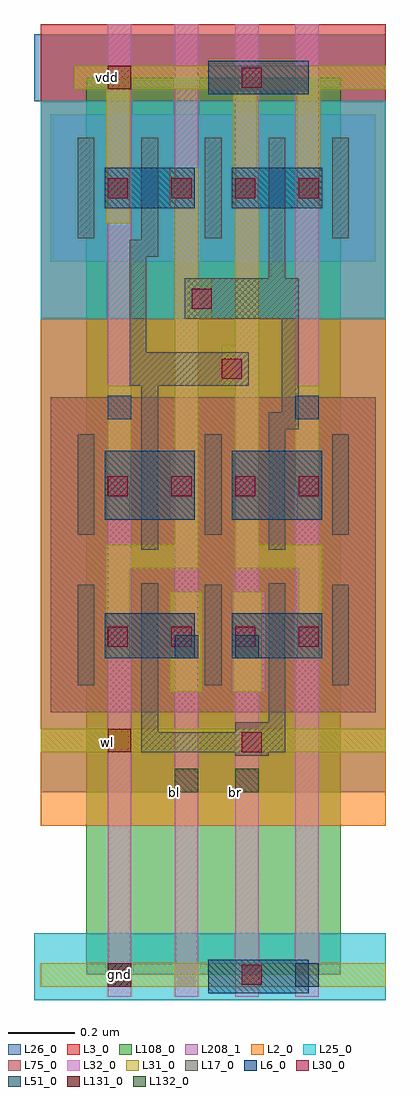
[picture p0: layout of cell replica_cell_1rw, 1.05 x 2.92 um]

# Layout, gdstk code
from math import pi, radians
import gdstk
lib = gdstk.Library(unit=1e-6, precision=1e-09)
def R(c, l, rs):  # rectangles x0, y0, x1, y1
    for r in rs: c.add(gdstk.rectangle(r[:2], r[2:], *l))
def A(c, l, x, y, w, h, nx, ny, dx, dy):  # array of equal rectangles
    R(c, l, [(x+i*dx, y+j*dy, x+i*dx+w, y+j*dy+h) for i in range(nx) for j in range(ny)])
L2_0 = (2, 0)
L3_0 = (3, 0)
L6_0 = (6, 0)
L17_0 = (17, 0)
L25_0 = (25, 0)
L26_0 = (26, 0)
L30_0 = (30, 0)
L31_0 = (31, 0)
L32_0 = (32, 0)
L51_0 = (51, 0)
L75_0 = (75, 0)
L108_0 = (108, 0)
L131_0 = (131, 0)
L132_0 = (132, 0)
L208_1 = (208, 1)

nch_mac_cdns_73062642868 = lib.new_cell('nch_mac_CDNS_730626428680')
R(nch_mac_cdns_73062642868, L6_0, [(-0.11,0,0,0.205), (0,0,0.05,0.205), (0.05,0,0.16,0.205)])
R(nch_mac_cdns_73062642868, L17_0, [(0,-0.09,0.05,0), (-0.19,-0.045,-0.14,0.255), (0.19,-0.045,0.24,0.255), (0,0,0.05,0.205), (0,0.205,0.05,0.295)])
R(nch_mac_cdns_73062642868, L26_0, [(-0.3,-0.2,-0.24,0.405), (-0.24,-0.2,0.29,0.405), (0.29,-0.2,0.35,0.405)])
R(nch_mac_cdns_73062642868, L30_0, [(-0.1,0.07,-0.04,0.13), (0.09,0.07,0.15,0.13)])
R(nch_mac_cdns_73062642868, L31_0, [(-0.105,0,-0.035,0.205), (0.085,0,0.155,0.205)])
R(nch_mac_cdns_73062642868, L75_0, [(-0.27,-0.16,0.32,0.365)])
R(nch_mac_cdns_73062642868, L208_1, [(-0.27,-0.16,0.32,0.365)])
nch_mac_cdns_73062642868.add(gdstk.Label('& SerialNumber 000000', (0,0), layer=63, texttype=63))
nch_mac_cdns_73062642868.add(gdstk.Label('& Distributor TSMC', (0,0), layer=63, texttype=63))
nch_mac_cdns_73062642868.add(gdstk.Label('& Metric 1', (0,0), layer=63, texttype=63))
nch_mac_cdns_73062642868.add(gdstk.Label('& PDK Version "tsmcN40_CRN40ULP_v1.5_2b_20200409"', (0,0), layer=63, texttype=63))
nch_mac_cdns_73062642868.add(gdstk.Label('& PDK TechNode "CRN40ULP"', (0,0), layer=63, texttype=63))
nch_mac_cdns_73062642868.add(gdstk.Label('& Product    tsmcN40_PDK', (0,0), layer=63, texttype=63))
nch_mac_cdns_73062642868.add(gdstk.Label('& Vendor     Taiwan Semiconductor manufacturing Corp.', (0,0), layer=63, texttype=63))
nch_mac_cdns_73062642868.add(gdstk.Label('[@instanceName]', (0.025,0.102), layer=127, texttype=0))
nch_mac_cdns_73062642868.add(gdstk.Label('0.205/0.05', (0,0), layer=127, texttype=0))
nch_mac_cdns_73062642868.add(gdstk.Label('nch_mac', (0,0.045), layer=127, texttype=0))
nch_mac_cdns_73062642868.add(gdstk.Label('D', (0.12,0.102), layer=127, texttype=0))
nch_mac_cdns_73062642868.add(gdstk.Label('S', (-0.07,0.102), layer=127, texttype=0))

c_nch_mac_cdns_73062642868 = lib.new_cell('nch_mac_CDNS_730626428681')
R(c_nch_mac_cdns_73062642868, L6_0, [(-0.11,0,0,0.135), (0,0,0.05,0.135), (0.05,0,0.16,0.135)])
R(c_nch_mac_cdns_73062642868, L17_0, [(0,-0.09,0.05,0), (-0.19,-0.08,-0.14,0.22), (0.19,-0.08,0.24,0.22), (0,0,0.05,0.135), (0,0.135,0.05,0.225)])
R(c_nch_mac_cdns_73062642868, L26_0, [(-0.3,-0.2,-0.24,0.335), (-0.24,-0.2,0.29,0.335), (0.29,-0.2,0.35,0.335)])
R(c_nch_mac_cdns_73062642868, L30_0, [(-0.1,0.035,-0.04,0.095), (0.09,0.035,0.15,0.095)])
R(c_nch_mac_cdns_73062642868, L31_0, [(-0.105,0,-0.035,0.135), (0.085,0,0.155,0.135)])
R(c_nch_mac_cdns_73062642868, L75_0, [(-0.27,-0.16,0.32,0.295)])
R(c_nch_mac_cdns_73062642868, L208_1, [(-0.27,-0.16,0.32,0.295)])
c_nch_mac_cdns_73062642868.add(gdstk.Label('& SerialNumber 000000', (0,0), layer=63, texttype=63))
c_nch_mac_cdns_73062642868.add(gdstk.Label('& Distributor TSMC', (0,0), layer=63, texttype=63))
c_nch_mac_cdns_73062642868.add(gdstk.Label('& Metric 1', (0,0), layer=63, texttype=63))
c_nch_mac_cdns_73062642868.add(gdstk.Label('& PDK Version "tsmcN40_CRN40ULP_v1.5_2b_20200409"', (0,0), layer=63, texttype=63))
c_nch_mac_cdns_73062642868.add(gdstk.Label('& PDK TechNode "CRN40ULP"', (0,0), layer=63, texttype=63))
c_nch_mac_cdns_73062642868.add(gdstk.Label('& Product    tsmcN40_PDK', (0,0), layer=63, texttype=63))
c_nch_mac_cdns_73062642868.add(gdstk.Label('& Vendor     Taiwan Semiconductor manufacturing Corp.', (0,0), layer=63, texttype=63))
c_nch_mac_cdns_73062642868.add(gdstk.Label('[@instanceName]', (0.025,0.067), layer=127, texttype=0))
c_nch_mac_cdns_73062642868.add(gdstk.Label('0.135/0.05', (0,0), layer=127, texttype=0))
c_nch_mac_cdns_73062642868.add(gdstk.Label('nch_mac', (0,0.045), layer=127, texttype=0))
c_nch_mac_cdns_73062642868.add(gdstk.Label('D', (0.12,0.067), layer=127, texttype=0))
c_nch_mac_cdns_73062642868.add(gdstk.Label('S', (-0.07,0.067), layer=127, texttype=0))

pch_mac_cdns_73062642868 = lib.new_cell('pch_mac_CDNS_730626428682')
R(pch_mac_cdns_73062642868, L3_0, [(-0.27,-0.16,0.32,0.28)])
R(pch_mac_cdns_73062642868, L6_0, [(-0.11,0,0,0.12), (0,0,0.05,0.12), (0.05,0,0.16,0.12)])
R(pch_mac_cdns_73062642868, L17_0, [(-0.19,-0.09,-0.14,0.21), (0,-0.09,0.05,0), (0.19,-0.09,0.24,0.21), (0,0,0.05,0.12), (0,0.12,0.05,0.21)])
R(pch_mac_cdns_73062642868, L25_0, [(-0.3,-0.2,-0.24,0.32), (-0.24,-0.2,0.29,0.32), (0.29,-0.2,0.35,0.32)])
R(pch_mac_cdns_73062642868, L30_0, [(-0.1,0.03,-0.04,0.09), (0.09,0.03,0.15,0.09)])
R(pch_mac_cdns_73062642868, L31_0, [(-0.105,0,-0.035,0.12), (0.085,0,0.155,0.12)])
R(pch_mac_cdns_73062642868, L208_1, [(-0.27,-0.16,0.32,0.28)])
pch_mac_cdns_73062642868.add(gdstk.Label('& SerialNumber 000000', (0,0), layer=63, texttype=63))
pch_mac_cdns_73062642868.add(gdstk.Label('& Distributor TSMC', (0,0), layer=63, texttype=63))
pch_mac_cdns_73062642868.add(gdstk.Label('& Metric 1', (0,0), layer=63, texttype=63))
pch_mac_cdns_73062642868.add(gdstk.Label('& PDK Version "tsmcN40_CRN40ULP_v1.5_2b_20200409"', (0,0), layer=63, texttype=63))
pch_mac_cdns_73062642868.add(gdstk.Label('& PDK TechNode "CRN40ULP"', (0,0), layer=63, texttype=63))
pch_mac_cdns_73062642868.add(gdstk.Label('& Product    tsmcN40_PDK', (0,0), layer=63, texttype=63))
pch_mac_cdns_73062642868.add(gdstk.Label('& Vendor     Taiwan Semiconductor manufacturing Corp.', (0,0), layer=63, texttype=63))
pch_mac_cdns_73062642868.add(gdstk.Label('[@instanceName]', (0.025,0.06), layer=127, texttype=0))
pch_mac_cdns_73062642868.add(gdstk.Label('0.12/0.05', (0,0), layer=127, texttype=0))
pch_mac_cdns_73062642868.add(gdstk.Label('pch_mac', (0,0.045), layer=127, texttype=0))
pch_mac_cdns_73062642868.add(gdstk.Label('D', (0.12,0.06), layer=127, texttype=0))
pch_mac_cdns_73062642868.add(gdstk.Label('S', (-0.07,0.06), layer=127, texttype=0))

replica_cell_1rw = lib.new_cell('replica_cell_1rw')
R(replica_cell_1rw, L2_0, [(-0.135,0.445,0.895,1.96)])
R(replica_cell_1rw, L3_0, [(-0.135,1.96,0.895,2.84), (-0.135,2.19,0.895,2.84)])
R(replica_cell_1rw, L6_0, [(0.365,-0.055,0.665,0.045), (0.365,2.63,0.665,2.73)])
R(replica_cell_1rw, L17_0, [(0.445,0.655,0.545,0.755), (0.165,0.665,0.215,0.945), (0.165,0.665,0.595,0.725), (0.545,0.665,0.595,0.945), (0.545,1.63,0.635,1.68), (0.165,1.76,0.485,1.86), (0.295,1.96,0.595,2.08), (0.13,2.145,0.215,2.195)])
R(replica_cell_1rw, L25_0, [(-0.155,-0.075,0.895,0.125), (-0.135,1.96,0.895,2.61)])
R(replica_cell_1rw, L26_0, [(-0.135,0.545,0.895,0.745), (-0.135,0.745,0.895,1.96), (-0.155,2.61,0.895,2.81)])
R(replica_cell_1rw, L30_0, [(0.465,-0.03,0.525,0.03), (0.465,0.665,0.525,0.725), (0.405,1.78,0.465,1.84), (0.315,1.99,0.375,2.05), (0.465,2.65,0.525,2.71)])
R(replica_cell_1rw, L31_0, [(-0.135,-0.035,0.895,0.035), (-0.135,0.665,0.895,0.735), (0.25,0.845,0.345,1.145), (0.44,0.845,0.525,1.145), (0.635,0.945,0.705,1.225), (0.06,0.985,0.13,1.285), (0.065,1.215,0.315,1.285), (0.265,1.215,0.335,2.41), (0.445,1.215,0.705,1.285), (0.445,1.215,0.515,2.41), (0.065,1.46,0.135,1.76), (0.625,1.46,0.695,1.76), (0.405,1.75,0.475,1.88), (0.305,1.96,0.375,2.08), (0.06,2.245,0.13,2.715), (0.63,2.29,0.7,2.715), (-0.035,2.645,0.895,2.715)])
A(replica_cell_1rw, L32_0, 0.265, 0.345, 0.07, 2.495, 3, 1, 0.18, 0)
R(replica_cell_1rw, L32_0, [(0.065,0.345,0.135,2.84), (0.265,0.845,0.335,1.145), (0.435,0.845,0.535,1.145)])
R(replica_cell_1rw, L51_0, [(0.065,-0.035,0.135,0.035), (0.625,-0.035,0.695,0.035), (0.265,0.945,0.335,1.015), (0.445,0.945,0.515,1.015), (0.065,1.66,0.135,1.73), (0.625,1.66,0.695,1.73)])
R(replica_cell_1rw, L108_0, [(0,0,0.76,2.68)])
R(replica_cell_1rw, L131_0, [(0.065,-0.035,0.135,0.035), (0.065,0.665,0.135,0.735), (0.065,2.645,0.135,2.715)])
R(replica_cell_1rw, L132_0, [(0.265,0.545,0.335,0.615), (0.445,0.545,0.515,0.615)])
replica_cell_1rw.add(gdstk.FlexPath([(0.57,1.655),(0.61,1.655)], 0.05, ends="extended", simple_path=True, layer=17, datatype=0))  # L17_0
replica_cell_1rw.add(gdstk.FlexPath([(0.61,1.655),(0.61,2.08)], 0.05, ends=(0.025, 0), simple_path=True, layer=17, datatype=0))  # L17_0
replica_cell_1rw.add(gdstk.FlexPath([(0.57,2.2),(0.57,1.96)], 0.05, ends="flush", simple_path=True, layer=17, datatype=0))  # L17_0
replica_cell_1rw.add(gdstk.FlexPath([(0.19,1.655),(0.19,1.86)], 0.05, ends="flush", simple_path=True, layer=17, datatype=0))  # L17_0
replica_cell_1rw.add(gdstk.FlexPath([(0.155,2.17),(0.155,1.76)], 0.05, ends=(0.025, 0), simple_path=True, layer=17, datatype=0))  # L17_0
replica_cell_1rw.add(gdstk.FlexPath([(0.19,2.2),(0.19,2.17)], 0.05, ends=(0, 0.025), simple_path=True, layer=17, datatype=0))  # L17_0
replica_cell_1rw.add(gdstk.FlexPath([(0.19,2.17),(0.155,2.17)], 0.05, ends="extended", simple_path=True, layer=17, datatype=0))  # L17_0
replica_cell_1rw.add(gdstk.FlexPath([(0.475,2.41),(0.475,2.715)], 0.07, ends="flush", simple_path=True, layer=31, datatype=0))  # L31_0
replica_cell_1rw.add(gdstk.FlexPath([(0.3,0.345),(0.3,-0.065)], 0.07, ends="flush", simple_path=True, layer=32, datatype=0))  # L32_0
replica_cell_1rw.add(gdstk.FlexPath([(0.1,0.345),(0.1,-0.065)], 0.07, ends="flush", simple_path=True, layer=32, datatype=0))  # L32_0
replica_cell_1rw.add(gdstk.FlexPath([(0.48,0.345),(0.48,-0.065)], 0.07, ends="flush", simple_path=True, layer=32, datatype=0))  # L32_0
replica_cell_1rw.add(gdstk.FlexPath([(0.66,0.345),(0.66,-0.065)], 0.07, ends="flush", simple_path=True, layer=32, datatype=0))  # L32_0
replica_cell_1rw.add(gdstk.Reference(nch_mac_cdns_73062642868, (0.595,1.36), rotation=pi, x_reflection=True))
replica_cell_1rw.add(gdstk.Reference(nch_mac_cdns_73062642868, (0.165,1.36)))
replica_cell_1rw.add(gdstk.Reference(c_nch_mac_cdns_73062642868, (0.165,0.945)))
replica_cell_1rw.add(gdstk.Reference(c_nch_mac_cdns_73062642868, (0.165,0.945)))
replica_cell_1rw.add(gdstk.Reference(c_nch_mac_cdns_73062642868, (0.595,0.945), rotation=pi, x_reflection=True))
replica_cell_1rw.add(gdstk.Reference(pch_mac_cdns_73062642868, (0.165,2.29)))
replica_cell_1rw.add(gdstk.Reference(pch_mac_cdns_73062642868, (0.595,2.29), rotation=pi, x_reflection=True))
replica_cell_1rw.add(gdstk.Label('vdd', (0.065,2.68), layer=131, texttype=0))
replica_cell_1rw.add(gdstk.Label('wl', (0.065,0.695), layer=131, texttype=0))
replica_cell_1rw.add(gdstk.Label('gnd', (0.1,0), layer=131, texttype=0))
replica_cell_1rw.add(gdstk.Label('bl', (0.265,0.545), layer=132, texttype=0))
replica_cell_1rw.add(gdstk.Label('br', (0.445,0.545), layer=132, texttype=0))

lib.write_gds('replica_cell_1rw.gds')
